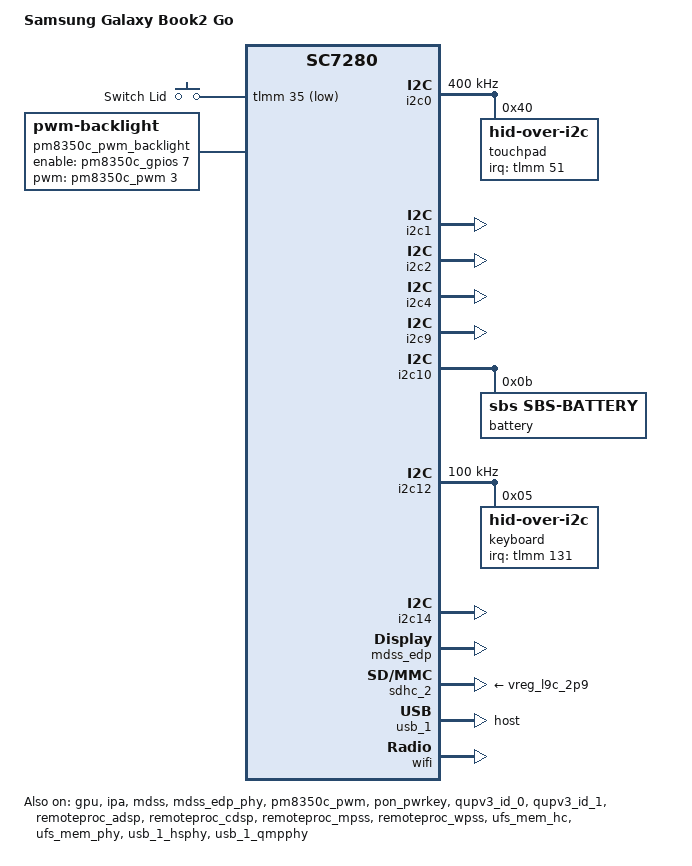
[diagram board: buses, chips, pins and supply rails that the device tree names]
// SPDX-License-Identifier: BSD-3-Clause
/*
 * Copyright (c) 2025, Jasper Korten <jja2000@gmail.com>
 */

/dts-v1/;

/* PM7250B is configured to use SID8/9 */
#define PM7250B_SID 8
#define PM7250B_SID1 9

#include <dt-bindings/iio/qcom,spmi-adc7-pm7325.h>
#include <dt-bindings/iio/qcom,spmi-adc7-pmk8350.h>
#include <dt-bindings/leds/common.h>
#include <dt-bindings/media/video-interfaces.h>
#include <dt-bindings/pinctrl/qcom,pmic-gpio.h>
#include <dt-bindings/regulator/qcom,rpmh-regulator.h>
#include <dt-bindings/sound/qcom,q6asm.h>
#include <dt-bindings/sound/qcom,q6dsp-lpass-ports.h>
#include "kodiak.dtsi"
#include "qcs6490-audioreach.dtsi"
#include "pm7250b.dtsi"
#include "pm7325.dtsi"
#include "pm8350c.dtsi" /* PM7350C */
#include "pmk8350.dtsi" /* PMK7325 */

/delete-node/ &ipa_fw_mem;
/delete-node/ &rmtfs_mem;
/delete-node/ &wpss_mem;
/delete-node/ &xbl_mem;

/ {
	model = "Samsung Galaxy Book2 Go";
	compatible = "samsung,book2go", "qcom,sc7280";
	chassis-type = "laptop";

	gpio-keys {
		compatible = "gpio-keys";

		pinctrl-0 = <&hall_int_default>;
		pinctrl-names = "default";

		switch-lid {
			label = "Switch Lid";
			gpios = <&tlmm 35 GPIO_ACTIVE_LOW>;
			linux,input-type = <EV_SW>;
			linux,code = <SW_LID>;
			// wakeup-event-action = <EV_ACT_DEASSERTED>;
			wakeup-source;
		};
	};

	pm8350c_pwm_backlight: backlight {
		compatible = "pwm-backlight";
		pwms = <&pm8350c_pwm 3 65535>;
		enable-gpios = <&pm8350c_gpios 7 GPIO_ACTIVE_HIGH>;
		pinctrl-0 = <&pmic_lcd_bl_en>;
		pinctrl-names = "default";
	};

	reserved-memory {
		wpss_mem: wpss@84800000 {
			reg = <0x0 0x84800000 0x0 0x1900000>;
			no-map;
		};

		rmtfs_mem: rmtfs@a0800000 {
			compatible = "qcom,rmtfs-mem";
			reg = <0x0 0xa0800000 0x0 0x300000>;
			no-map;

			qcom,client-id = <1>;
			//qcom,vmid = <QCOM_SCM_VMID_MSS_MSA>;
		};

		ipa_fw_mem: ipa-fw@81800000 {
			reg = <0x0 0x81800000 0x0 0x70000>;
			no-map;
		};
	};

	// pmic-glink {
	// 	compatible = "qcom,qcm6490-pmic-glink", "qcom,pmic-glink";

	// 	#address-cells = <1>;
	// 	#size-cells = <0>;
	// 	orientation-gpios = <&tlmm 140 GPIO_ACTIVE_HIGH>;

	// 	connector@0 {
	// 		compatible = "usb-c-connector";
	// 		reg = <0>;

	// 		label = "Type C Left";
	// 		power-role = "dual";
	// 		data-role = "dual";

	// 		ports {
	// 			#address-cells = <1>;
	// 			#size-cells = <0>;

	// 			port@0 {
	// 				reg = <0>;

	// 				pmic_glink_c1_hs_in: endpoint {
	// 					remote-endpoint = <&hub_usb_c1_con_hs>;
	// 				};
	// 			};
	// 		};
	// 	};

	// 	connector@1 {
	// 		compatible = "usb-c-connector";
	// 		reg = <0>;

	// 		label = "Type C Right";
	// 		power-role = "dual";
	// 		data-role = "dual";

	// 		ports {
	// 			#address-cells = <1>;
	// 			#size-cells = <0>;

	// 			port@0 {
	// 				reg = <0>;

	// 				pmic_glink_c2_hs_in: endpoint {
	// 					remote-endpoint = <&hub_usb_c2_con_hs>;
	// 				};
	// 			};

	// 			port@1 {
	// 				reg = <1>;

	// 				pmic_glink_c2_ss_in: endpoint {
	// 					remote-endpoint = <&usb_dp_qmpphy_out>;
	// 				};
	// 			};

	// 			// port@2 {
	// 			// 	reg = <2>;

	// 			// 	pmic_glink_c2_sbu_in: endpoint {
	// 			// 		remote-endpoint = <&redriver_usb_con_sbu>;
	// 			// 	};
	// 			// };
	// 		};
	// 	};

	// 	connector@2 {
	// 		compatible = "usb-a-connector";
	// 		reg = <2>;
	// 		power-role = "dual";
	// 		data-role = "dual";

	// 		ports {
	// 			#address-cells = <1>;
	// 			#size-cells = <0>;

	// 			port@0 {
	// 				reg = <0>;

	// 				pmic_glink_a1_hs_in: endpoint {
	// 					remote-endpoint = <&hub_usb_a1_con_hs>;
	// 				};
	// 			};
	// 		};
	// 	};
	// };
};

&apps_rsc {
	regulators-0 {
		compatible = "qcom,pm7325-rpmh-regulators";
		qcom,pmic-id = "b";

		vreg_l1b_0p8: ldo1 {
			regulator-min-microvolt = <880000>;
			regulator-max-microvolt = <912000>;
		};

		vreg_l2b_3p0: ldo2 {
			regulator-min-microvolt = <3072000>;
			regulator-max-microvolt = <3072000>;
		};

		vreg_l6b_1p2: ldo6 {
			regulator-min-microvolt = <1200000>;
			regulator-max-microvolt = <1200000>;
		};

		vreg_l7b_2p9: ldo7 {
			regulator-min-microvolt = <2504000>;
			regulator-max-microvolt = <2960000>;
			regulator-initial-mode = <RPMH_REGULATOR_MODE_HPM>;
		};

		vreg_l9b_1p2: ldo9 {
			regulator-min-microvolt = <1200000>;
			regulator-max-microvolt = <1200000>;
			regulator-initial-mode = <RPMH_REGULATOR_MODE_HPM>;
		};

		vreg_l18b_1p8: ldo18 {
			regulator-min-microvolt = <1800000>;
			regulator-max-microvolt = <1800000>;
		};

		vreg_l19b_1p8: ldo19 {
			regulator-min-microvolt = <1800000>;
			regulator-max-microvolt = <1800000>;
		};

		vreg_s1b_1p8: smps1 {
			regulator-min-microvolt = <1872000>;
			regulator-max-microvolt = <1872000>;
		};

		vreg_s7b_0p9: smps7 {
			regulator-min-microvolt = <952000>;
			regulator-max-microvolt = <952000>;
		};

		vreg_s8b_1p2: smps8 {
			regulator-min-microvolt = <1256000>;
			regulator-max-microvolt = <1256000>;
		};
	};

	regulators-1 {
		compatible = "qcom,pm8350c-rpmh-regulators";
		qcom,pmic-id = "c";

		vreg_l1c_1p8: ldo1 {
			regulator-min-microvolt = <1800000>;
			regulator-max-microvolt = <1800000>;
		};

		vreg_l6c_2p9: ldo6 {
			regulator-min-microvolt = <1800000>;
			regulator-max-microvolt = <2950000>;
		};

		vreg_l7c_3p0: ldo7 {
			regulator-min-microvolt = <3000000>;
			regulator-max-microvolt = <3300000>;
		};

		vreg_l9c_2p9: ldo9 {
			regulator-min-microvolt = <2960000>;
			regulator-max-microvolt = <2960000>;
		};

		vreg_l10c_0p8: ldo10 {
			regulator-min-microvolt = <880000>;
			regulator-max-microvolt = <880000>;
		};

		vreg_l12c_1p8: ldo12 {
			regulator-min-microvolt = <1800000>;
			regulator-max-microvolt = <1800000>;
		};
	};
};

&gcc {
	protected-clocks = <GCC_CFG_NOC_LPASS_CLK>,
			   <GCC_EDP_CLKREF_EN>,
			   <GCC_MSS_CFG_AHB_CLK>,
			   <GCC_MSS_GPLL0_MAIN_DIV_CLK_SRC>,
			   <GCC_MSS_OFFLINE_AXI_CLK>,
			   <GCC_MSS_Q6SS_BOOT_CLK_SRC>,
			   <GCC_MSS_Q6_MEMNOC_AXI_CLK>,
			   <GCC_MSS_SNOC_AXI_CLK>,
			   <GCC_QSPI_CNOC_PERIPH_AHB_CLK>,
			   <GCC_QSPI_CORE_CLK>,
			   <GCC_QSPI_CORE_CLK_SRC>,
			   <GCC_SEC_CTRL_CLK_SRC>,
			   <GCC_WPSS_AHB_BDG_MST_CLK>,
			   <GCC_WPSS_AHB_CLK>,
			   <GCC_WPSS_RSCP_CLK>;
};

&gpu {
	status = "okay";
};

&gpu_zap_shader {
	firmware-name = "qcom/sc7280/galaxybook2go/a660_zap.mbn";
};

&i2c0 {
	clock-frequency = <400000>;

	status = "okay";

	/* SSTP0001 */
	touchpad@40 {
		compatible = "hid-over-i2c";
		reg = <0x40>;
		hid-descr-addr = <0x0e>;

		interrupts-extended = <&tlmm 51 IRQ_TYPE_LEVEL_LOW>;

		pinctrl-0 = <&hid_touchpad_default>;
		pinctrl-names = "default";

		wakeup-source;
	};
};

// \\_SB.I2C2 -- has QCOM0AD3 at 0x08 & 0x09 - smells like pm8008
// 200.0.1.0,qcpmic7280.cab,ACPI\QCOM0AD3,"Qualcomm(R) Power Management PML0","Qualcomm Inc.","Qualcomm Inc.",System,,1.0.3454.5500,03/28/2022
&i2c1 {
	status = "okay";

	// i2cdetect shows 0x31, 0x32, 0x33, 0x34, 0x49
};

// \\_SB.I2C3 -- has SAMM0210 at 0x20 (SAR2) & 0x21 (SAR3) with interrupt
// https://treexy.com/products/driver-fusion/database/sensors/samsung/a96t396-proximity/
// A96T396 Proximity
&i2c2 {
	status = "okay";

	// i2cdetect shows 0x20, 0x21
};

// \\_SB.I2C5 -- has SAMM0214 / ACC1 at 0x1d with interrupt
// https://treexy.com/products/driver-fusion/database/sensors/samsung/lis2dlc12-accelerometer-device/
// LIS2DLC12 Accelerometer
&i2c4 {
	status = "okay";

	// i2cdetect shows 0x1d
};

// \\_SB.IC10 -- has SAMM0210 / SAR1 device on 0x20 with interrupt
// should be i2c9
&i2c9 {
	status = "okay";

	// i2cdetect shows 0x20
};

// \\_SB.IC11 i2c10 0x76 maybe also 0x09 and 0x0b
&i2c10 {
	status = "okay";

	// i2cdetect shows 0x09, 0x0b

	battery@b {
		compatible = "sbs,sbs-battery";
		reg = <0x0b>;
	};
};

&i2c12 {
	clock-frequency = <100000>;

	status = "okay";

	/* SSEC0001 */
	keyboard@5 {
		compatible = "hid-over-i2c";
		reg = <0x5>;
		hid-descr-addr = <0x20>;

		interrupts-extended = <&tlmm 131 IRQ_TYPE_LEVEL_LOW>;

		pinctrl-0 = <&hid_keyboard_default>;
		pinctrl-names = "default";

		wakeup-source;
	};

	// i2cdetect shows 0x0d
};

// \\_SB.IC15 -- has SAM060B / ECTC on 0x62 with interrupt
// should be i2c14
&i2c14 {
	status = "okay";

	// i2cdetect shows 0x60, 0x62, 0x63
};

&ipa {
	qcom,gsi-loader = "self";
	memory-region = <&ipa_fw_mem>;
	firmware-name = "qcom/sc7280/galaxybook2go/ipa_fws.elf";

	status = "okay";
};

&mdss {
	status = "okay";
};

&mdss_edp {
	status = "okay";

	aux-bus {
		edp_panel: panel {
			compatible = "edp-panel";

			backlight = <&pm8350c_pwm_backlight>;

			port {
				edp_panel_in: endpoint {
					remote-endpoint = <&mdss_edp_out>;
				};
			};
		};
	};
};

&mdss_edp_out {
	data-lanes = <0 1 2 3>;
	link-frequencies = /bits/ 64 <1620000000 2700000000 5400000000 8100000000>;
	remote-endpoint = <&edp_panel_in>;
};

&mdss_edp_phy {
	vdda-pll-supply = <&vreg_l10c_0p8>;
	vdda-phy-supply = <&vreg_l6b_1p2>;

	status = "okay";
};

&pm8350c_gpios {
	pmic_lcd_bl_en: pmic-lcd-bl-en-state {
		pins = "gpio7";
		function = "normal";
		bias-disable;
		qcom,drive-strength = <PMIC_GPIO_STRENGTH_LOW>;
		output-low;
		power-source = <0>;
	};

	pmic_lcd_bl_pwm: pmic-lcd-bl-pwm-state {
		pins = "gpio8";
		function = "func1";
		bias-disable;
		qcom,drive-strength = <PMIC_GPIO_STRENGTH_LOW>;
		output-low;
		power-source = <0>;
	};
};

&pm8350c_pwm {
	pinctrl-0 = <&pmic_lcd_bl_pwm>;
	pinctrl-names = "default";

	status = "okay";

	multi-led {
		color = <LED_COLOR_ID_RGB>;
		function = LED_FUNCTION_STATUS;

		#address-cells = <1>;
		#size-cells = <0>;

		led@1 {
			reg = <1>;
			color = <LED_COLOR_ID_RED>;
		};

		led@2 {
			reg = <2>;
			color = <LED_COLOR_ID_GREEN>;
		};

		led@3 {
			reg = <3>;
			color = <LED_COLOR_ID_BLUE>;
		};
	};
};

&pon_pwrkey {
	status = "okay";
};

&qupv3_id_0 {
	status = "okay";
};

&qupv3_id_1 {
	status = "okay";
};

&remoteproc_adsp {
	firmware-name = "qcom/sc7280/galaxybook2go/adsp.mbn";

	status = "okay";
};

&remoteproc_cdsp {
	firmware-name = "qcom/sc7280/galaxybook2go/cdsp.mbn";

	status = "okay";
};

// RMTB = RMTA = RFS0_Y01_BAS = 0xA0800000
// RMTL = RMTX = RFS0_Y01_LEN = 0x00300000
// RFMA = RFMB = RFS0_Y02_BAS = 0x00000000
// RFML = RFMS = RFS0_Y02_LEN = 0x00000000
// RFAA = RFAB = RFS0_Y03_BAS = 0x00000000
// RFAL = RFAS = RFS0_Y03_LEN = 0x00000000
&remoteproc_mpss {
	firmware-name = "qcom/sc7280/galaxybook2go/modem.mbn";

	status = "okay";
};

&remoteproc_wpss {
	firmware-name = "qcom/sc7280/galaxybook2go/wpss.mbn";

	status = "okay";
};

&sdc2_clk {
	drive-strength = <16>;
	bias-disable;
};

&sdc2_cmd {
	drive-strength = <10>;
	bias-pull-up;
};

&sdc2_data {
	drive-strength = <10>;
	bias-pull-up;
};

&sdhc_2 {
	vmmc-supply = <&vreg_l9c_2p9>;
	vqmmc-supply = <&vreg_l6c_2p9>;

	pinctrl-0 = <&sdc2_clk>, <&sdc2_cmd>, <&sdc2_data>;
	pinctrl-1 = <&sdc2_clk_sleep>, <&sdc2_cmd_sleep>, <&sdc2_data_sleep>;

	status = "okay";
};

&tlmm {
	hall_int_default: hall-int-state {
		pins = "gpio35";
		function = "gpio";
		bias-disable;
	};

	hid_keyboard_default: hid-keyboard-default-state {
		pins = "gpio131";
		function = "gpio";
		drive-strength = <2>;
		bias-pull-up;
	};

	hid_touchpad_default: hid-touchpad-default-state {
		pins = "gpio61";
		function = "gpio";
		drive-strength = <2>;
		bias-pull-up;
	};
};

// uart5 debug uart - is this exposed on the PCB?

// uart7 bluetooth chip

&ufs_mem_hc {
	// Can't find this pin in DSDT, crd has it set to 175, fp5 has it set to 175
	reset-gpios = <&tlmm 175 GPIO_ACTIVE_LOW>;

	// Yoinked from fp5, dsdt lists pmicvregvotes for both of these, no amperages in dsdt though
	vcc-supply = <&vreg_l7b_2p9>;
	vcc-max-microamp = <800000>;
	/*
	 * Technically l9b enables an eLDO (supplied by s1b) which then powers
	 * VCCQ2 of the UFS.
	 */
	vccq-supply = <&vreg_l9b_1p2>;
	vccq-max-microamp = <900000>;

	status = "okay";
};

&ufs_mem_phy {
	/*
	 * FP5 dts has stuff here about regulators/supplies, no idea which ones I should use on this board
	 * Also no device in dsdt on 1D87000.
	 */
	vdda-phy-supply = <&vreg_l10c_0p8>;
	vdda-pll-supply = <&vreg_l6b_1p2>;

	status = "okay";
};

&usb_1 {
	dr_mode = "host";

	status = "okay";
};

&usb_1_hsphy {
	vdda-pll-supply = <&vreg_l10c_0p8>;
	vdda33-supply = <&vreg_l2b_3p0>;
	vdda18-supply = <&vreg_l1c_1p8>;
	qcom,hs-rise-fall-time-bp = <0>;
	qcom,squelch-detector-bp = <(-2090)>;
	qcom,hs-disconnect-bp = <1743>;
	qcom,hs-amplitude-bp = <1780>;
	qcom,hs-crossover-voltage-microvolt = <(-31000)>;
	qcom,hs-output-impedance-micro-ohms = <2600000>;

	status = "okay";
};

&usb_1_qmpphy {
	vdda-phy-supply = <&vreg_l6b_1p2>;
	vdda-pll-supply = <&vreg_l1b_0p8>;

	status = "okay";
};

// &usb_dp_qmpphy_out {
// 	remote-endpoint = <&pmic_glink_c2_ss_in>;
// };

//&venus {
//	firmware-name = "qcom/sc7280/galaxybook2go/venus.mbn";
//
//	status = "okay";
//};

&wifi {
	status = "okay";
};
